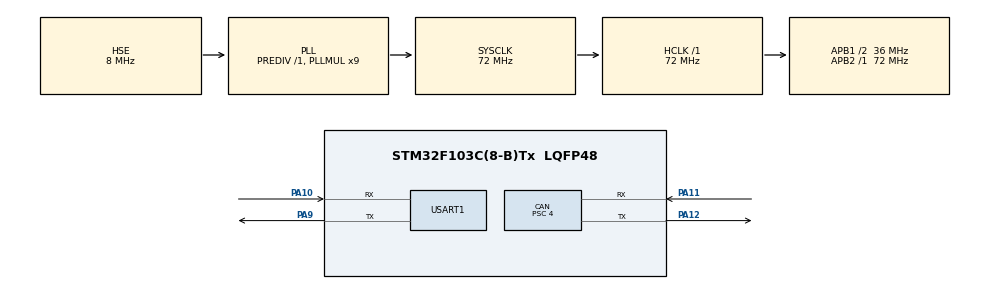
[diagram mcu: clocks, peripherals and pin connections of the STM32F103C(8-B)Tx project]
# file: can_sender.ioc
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CAN.BS1=CAN_BS1_13TQ
CAN.BS2=CAN_BS2_4TQ
CAN.CalculateBaudRate=500000
CAN.CalculateTimeBit=1999.99
CAN.CalculateTimeQuantum=111.11111111111111
CAN.Mode=CAN_MODE_NORMAL
CAN.Prescaler=4
CAN.SJW=CAN_SJW_1TQ
Mcu.Family=STM32F1
Mcu.Name=STM32F103C(8-B)Tx
Mcu.Package=LQFP48
NVIC.PriorityGroup=NVIC_PRIORITYGROUP_4
NVIC.TimeBase=SysTick_IRQn
NVIC.TimeBaseIP=SYS
PA10.Mode=Asynchronous
PA10.Signal=USART1_RX
PA11.Mode=CAN_Activate
PA11.Signal=CAN_RX
PA12.Mode=CAN_Activate
PA12.Signal=CAN_TX
PA13.Mode=Serial_Wire
PA13.Signal=SYS_JTMS-SWDIO
PA14.Mode=Serial_Wire
PA14.Signal=SYS_JTCK-SWCLK
PA9.Mode=Asynchronous
PA9.Signal=USART1_TX
PD0-OSC_IN.Mode=HSE-External-Oscillator
PD0-OSC_IN.Signal=RCC_OSC_IN
PD1-OSC_OUT.Mode=HSE-External-Oscillator
PD1-OSC_OUT.Signal=RCC_OSC_OUT
ProjectManager.HeapSize=0x200
ProjectManager.StackSize=0x400
ProjectManager.TargetToolchain=MDK-ARM V5.27
RCC.AHBFreq_Value=72000000
RCC.APB1CLKDivider=RCC_HCLK_DIV2
RCC.APB1Freq_Value=36000000
RCC.APB1TimFreq_Value=72000000
RCC.APB2CLKDivider=RCC_HCLK_DIV1
RCC.APB2Freq_Value=72000000
RCC.APB2TimFreq_Value=72000000
RCC.HCLKFreq_Value=72000000
RCC.HSE_VALUE=8000000
RCC.HSI_VALUE=8000000
RCC.PLLMUL=RCC_PLL_MUL9
RCC.PLLSourceVirtual=RCC_PLLSOURCE_HSE
RCC.SYSCLKFreq_VALUE=72000000
RCC.SYSCLKSource=RCC_SYSCLKSOURCE_PLLCLK
RCC.USBFreq_Value=72000000
USART1.VirtualMode=VM_ASYNC
board=custom

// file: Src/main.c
/* USER CODE BEGIN Header */
/**
  ******************************************************************************
  * @file           : main.c
  * @brief          : CAN 瀵圭锛堜俊鍙锋簮锛夆?斺?? STM32F103C8T6
  *
  *  鍔熻兘锛氭瘡 500 ms 鍙戜竴甯? CAN 鎶ユ枃锛屾瘡 5 绉掓崲涓?涓懠鍚稿懆鏈?
  *        锛?2000 ms -> 1000 ms -> 400 ms 寰幆锛夛紝鐢ㄤ簬楠屾敹浠诲姟涓?鐨?
  *        "CAN 鎺ユ敹涓柇 -> 闃熷垪 -> 浠诲姟閫氱煡 -> 淇敼鍛煎惛鐏鐜?"銆?
  *
  *  甯ф牸寮忥紙涓庡ぉ绌烘槦浠诲姟涓?宸ョ▼涓?鑷达級锛?
  *        [0]=0xAA澶村抚 [1]=CMD [2..3]=鏁版嵁(澶хu16)
  *        [4]=鏍￠獙鍜?(CMD+DH+DL) [5..6]=0x00 [7]=0x55灏惧抚
  *
  *  浣跨敤鏂规硶锛?
  *    1. CubeMX 鎵撳紑 can_sender.ioc -> GENERATE CODE
  *    2. 鐢ㄦ湰鏂囦欢瑕嗙洊鐢熸垚鍑烘潵鐨? Src/main.c
  *    3. Keil 缂栬瘧锛圡icroLIB 瑕佸嬀涓婏級-> 涓嬭浇
  ******************************************************************************
  */
/* USER CODE END Header */
#include "main.h"
#include "can.h"
#include "usart.h"
#include "gpio.h"

/* USER CODE BEGIN Includes */
#include <stdio.h>
/* USER CODE END Includes */

void SystemClock_Config(void);

/* USER CODE BEGIN 0 */

/* printf 閲嶅畾鍚戝埌 USART1锛坒putc 鐗堟湰锛孠eil 闇?鍕鹃?? MicroLIB锛? */
#ifdef __GNUC__
  #define PUTCHAR_PROTOTYPE int __io_putchar(int ch)
#else
  #define PUTCHAR_PROTOTYPE int fputc(int ch, FILE *f)
#endif

PUTCHAR_PROTOTYPE
{
    HAL_UART_Transmit(&huart1, (uint8_t *)&ch, 1, 1000);
    return ch;
}
/* USER CODE END 0 */

int main(void)
{

  /* MCU Configuration--------------------------------------------------------*/

  /* Reset of all peripherals, Initializes the Flash interface and the Systick. */
  HAL_Init();

  /* Configure the system clock */
  SystemClock_Config();

  /* Initialize all configured peripherals */
  MX_GPIO_Init();
  MX_CAN_Init();
  MX_USART1_UART_Init();
  /* USER CODE BEGIN 2 */

  CAN_TxHeaderTypeDef txHeader;
  uint8_t             txData[8];
  uint32_t            txMailbox;
  const uint16_t      periodTable[3] = {2000u, 1000u, 400u};  /* 渚濇鍒囨崲鐨勫懠鍚稿懆鏈?(ms) */
  uint8_t             idx  = 0;
  uint32_t            seq  = 0;

  if (HAL_CAN_Start(&hcan) != HAL_OK)
  {
      printf("CAN start FAILED!\r\n");
      Error_Handler();
  }

  txHeader.StdId              = 0x123;        /* 鏍囧噯 ID锛屽ぉ绌烘槦绔笉杩囨护锛屼换鎰? ID 閮芥敹 */
  txHeader.ExtId              = 0x00;
  txHeader.IDE                = CAN_ID_STD;
  txHeader.RTR                = CAN_RTR_DATA;
  txHeader.DLC                = 8;
  txHeader.TransmitGlobalTime = DISABLE;

  printf("\r\n=== CAN sender (F103C8T6) 500kbps ===\r\n");
  printf("Send a frame every 500ms, change period every 5s\r\n");
  /* USER CODE END 2 */

  /* Infinite loop */
  while (1)
  {

    /* USER CODE BEGIN 3 */
    uint16_t          period;
    HAL_StatusTypeDef st;
    uint32_t          t0;
    uint32_t          esr;
    uint8_t           boff;
    uint8_t           lec;
    uint8_t           tec;

    period = periodTable[idx];

    txData[0] = 0xAA;                                  /* 澶村抚 */
    txData[1] = 0x01;                                  /* CMD: 淇敼鍛煎惛鍛ㄦ湡 */
    txData[2] = (uint8_t)(period >> 8);                /* 鏁版嵁楂樺瓧鑺? */
    txData[3] = (uint8_t)(period & 0xFFU);             /* 鏁版嵁浣庡瓧鑺? */
    txData[4] = (uint8_t)(txData[1] + txData[2] + txData[3]);  /* 鏍￠獙鍜? */
    txData[5] = 0x00;
    txData[6] = 0x00;
    txData[7] = 0x55;                                  /* 灏惧抚 */

    st = HAL_CAN_AddTxMessage(&hcan, &txHeader, txData, &txMailbox);

    /* 等这一帧发完（最多 50 ms）。
     * 注意：AutoRetransmission = DISABLE，失败不会重传，所以邮箱很快释放，
     *       HAL_CAN_AddTxMessage 返回 OK 只代表"报文进了邮箱"，
     *       **不代表真的发到了总线上** —— 必须再查错误状态寄存器。 */
    t0 = HAL_GetTick();
    while (HAL_CAN_IsTxMessagePending(&hcan, txMailbox))
    {
        if ((HAL_GetTick() - t0) > 50U)
        {
            break;
        }
    }

    /* CAN 错误状态寄存器 ESR：
     *   bit2      = BOFF (总线关闭)
     *   bit[6:4]  = LEC  最后一次错误码，3 = 应答错误(没人接)
     *   bit[23:16]= TEC  发送错误计数，>255 进入 Bus-Off */
    esr  = hcan.Instance->ESR;
    boff = (esr & (1UL << 2)) ? 1U : 0U;
    lec  = (uint8_t)((esr >> 4) & 0x07U);
    tec  = (uint8_t)((esr >> 16) & 0xFFU);

    ++seq;

    if (boff)
    {
        printf("[%lu] BUS-OFF (TEC=%u) -> 总线上没有节点应答，正在重启 CAN...\r\n", seq, tec);
        HAL_CAN_Stop(&hcan);
        HAL_CAN_Start(&hcan);        /* 重新启动即请求退出 Bus-Off */
    }
    else if (lec == 3U)              /* No Acknowledge error */
    {
        printf("[%lu] TX -> ACK ERROR (TEC=%u) 帧已发出但没人应答："
               "需要 2 个节点 + 两端 120Ω + 共地\r\n", seq, tec);
    }
    else if (st == HAL_OK)
    {
        printf("[%lu] TX OK : id=0x123  %02X %02X %02X %02X %02X %02X %02X %02X"
               "  (breath period = %u ms)\r\n",
               seq,
               txData[0], txData[1], txData[2], txData[3],
               txData[4], txData[5], txData[6], txData[7],
               period);
    }
    else
    {
        printf("[%lu] TX 入队失败 (err=%d)\r\n", seq, st);
    }

    /* 姣? 10 甯э紙绾? 5 绉掞級鎹竴涓懆鏈燂紝鏂逛究瑙傚療澶╃┖鏄熷懠鍚哥伅棰戠巼鍙樺寲 */
    if ((seq % 10U) == 0U)
    {
        idx = (idx + 1U) % 3U;
    }

    HAL_Delay(500);
  }
  /* USER CODE END 3 */
}

void SystemClock_Config(void)
{
  RCC_OscInitTypeDef RCC_OscInitStruct = {0};
  RCC_ClkInitTypeDef RCC_ClkInitStruct = {0};

  /** Initializes the RCC Oscillators according to the specified parameters
  * in the RCC_OscInitTypeDef structure.
  */
  RCC_OscInitStruct.OscillatorType = RCC_OSCILLATORTYPE_HSE;
  RCC_OscInitStruct.HSEState = RCC_HSE_ON;
  RCC_OscInitStruct.HSEPredivValue = RCC_HSE_PREDIV_DIV1;
  RCC_OscInitStruct.HSIState = RCC_HSI_ON;
  RCC_OscInitStruct.PLL.PLLState = RCC_PLL_ON;
  RCC_OscInitStruct.PLL.PLLSource = RCC_PLLSOURCE_HSE;
  RCC_OscInitStruct.PLL.PLLMUL = RCC_PLL_MUL9;
  if (HAL_RCC_OscConfig(&RCC_OscInitStruct) != HAL_OK)
  {
    Error_Handler();
  }
  /** Initializes the CPU, AHB and APB buses clocks
  */
  RCC_ClkInitStruct.ClockType = RCC_CLOCKTYPE_HCLK|RCC_CLOCKTYPE_SYSCLK
                              |RCC_CLOCKTYPE_PCLK1|RCC_CLOCKTYPE_PCLK2;
  RCC_ClkInitStruct.SYSCLKSource = RCC_SYSCLKSOURCE_PLLCLK;
  RCC_ClkInitStruct.AHBCLKDivider = RCC_SYSCLK_DIV1;
  RCC_ClkInitStruct.APB1CLKDivider = RCC_HCLK_DIV2;
  RCC_ClkInitStruct.APB2CLKDivider = RCC_HCLK_DIV1;

  if (HAL_RCC_ClockConfig(&RCC_ClkInitStruct, FLASH_LATENCY_2) != HAL_OK)
  {
    Error_Handler();
  }
}

void Error_Handler(void)
{
  __disable_irq();
  while (1)
  {
  }
}

/************************ (C) COPYRIGHT STMicroelectronics *****END OF FILE****/
